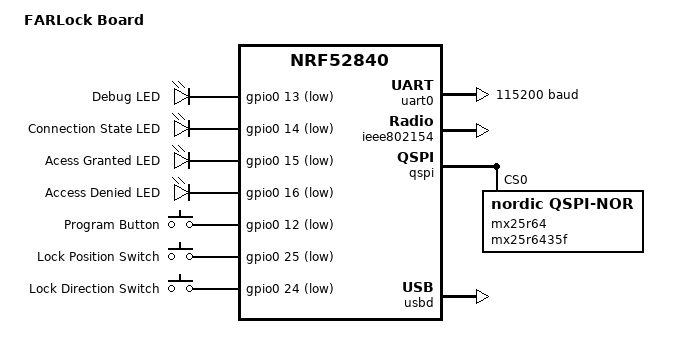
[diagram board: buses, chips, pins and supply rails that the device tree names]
/dts-v1/;
#include <nordic/nrf52840_qiaa.dtsi>
#include "farlock-pinctrl.dtsi"

/ {
	model = "FARLock Board";
	compatible = "frazieje,farlock";

	chosen {
		zephyr,console = &cdc_acm_uart0;
		zephyr,shell-uart = &uart0;
		zephyr,uart-mcumgr = &uart0;
		zephyr,bt-mon-uart = &uart0;
		zephyr,bt-c2h-uart = &uart0;
        zephyr,bt-uart = &uart0;
		zephyr,sram = &sram0;
		zephyr,flash = &flash0;
		zephyr,code-partition = &slot0_partition;
		zephyr,ieee802154 = &ieee802154;
	};

	leds {
		compatible = "gpio-leds";
		led0: led_0 {
			gpios = <&gpio0 13 GPIO_ACTIVE_LOW>;
			label = "Debug LED";
		};
		led1: led_1 {
			gpios = <&gpio0 14 GPIO_ACTIVE_LOW>;
			label = "Connection State LED";
		};
		led2: led_2 {
			gpios = <&gpio0 15 GPIO_ACTIVE_LOW>;
			label = "Acess Granted LED";
		};
		led3: led_3 {
			gpios = <&gpio0 16 GPIO_ACTIVE_LOW>;
			label = "Access Denied LED";
		};
	};

	buttons {
		compatible = "gpio-keys";
		button0: button_0 {
			gpios = <&gpio0 12 (GPIO_PULL_UP | GPIO_ACTIVE_LOW)>;
			label = "Program Button";
			zephyr,code = <INPUT_KEY_0>;
		};
		button1: button_1 {
			gpios = <&gpio0 25 (GPIO_PULL_UP | GPIO_ACTIVE_LOW)>;
			label = "Lock Position Switch";
			zephyr,code = <INPUT_KEY_1>;
		};
		button2: button_2 {
			gpios = <&gpio0 24 (GPIO_PULL_UP | GPIO_ACTIVE_LOW)>;
			label = "Lock Direction Switch";
			zephyr,code = <INPUT_KEY_2>;
		};
	};

	nfc: nfc {
		status = "okay";
		compatible = "nfc-rw";
	};
};

&gpiote {
	status = "okay";
};

&uicr {
	gpio-as-nreset;
};

&gpio0 {
	status = "okay";
};

&gpio1 {
	status = "okay";
};

&uart0 {
	compatible = "nordic,nrf-uarte";
	status = "okay";
	current-speed = <115200>;
	pinctrl-0 = <&uart0_default>;
	pinctrl-1 = <&uart0_sleep>;
	pinctrl-names = "default", "sleep";
};

&ieee802154 {
	status = "okay";
};

&qspi {
	status = "okay";
	pinctrl-0 = <&qspi_default>;
	pinctrl-1 = <&qspi_sleep>;
	pinctrl-names = "default", "sleep";
	mx25r64: mx25r6435f@0 {
		compatible = "nordic,qspi-nor";
		reg = <0>;
		/* MX25R64 supports only pp and pp4io */
		writeoc = "pp4io";
		/* MX25R64 supports all readoc options */
		readoc = "read4io";
		sck-frequency = <8000000>;
		jedec-id = [c2 28 17];
		sfdp-bfp = [
						   e5 20 f1 ff  ff ff ff 03  44 eb 08 6b  08 3b 04 bb
						   ee ff ff ff  ff ff 00 ff  ff ff 00 ff  0c 20 0f 52
						   10 d8 00 ff  23 72 f5 00  82 ed 04 cc  44 83 68 44
						   30 b0 30 b0  f7 c4 d5 5c  00 be 29 ff  f0 d0 ff ff
				   ];
		size = <67108864>;
		has-dpd;
		t-enter-dpd = <10000>;
		t-exit-dpd = <35000>;
	};
};

&flash0 {

	partitions {
		compatible = "fixed-partitions";
		#address-cells = <1>;
		#size-cells = <1>;

		boot_partition: partition@0 {
			label = "mcuboot";
			reg = <0x00000000 0x0000C000>;
		};
		slot0_partition: partition@c000 {
			label = "image-0";
			reg = <0x0000C000 0x00076000>;
		};
		slot1_partition: partition@82000 {
			label = "image-1";
			reg = <0x00082000 0x00076000>;
		};

		/*
		 * The flash starting at 0x000f8000 and ending at
		 * 0x000fffff is reserved for use by the application.
		 */

		/*
		 * Storage partition will be used by FCB/LittleFS/NVS
		 * if enabled.
		 */
		storage_partition: partition@f8000 {
			label = "storage";
			reg = <0x000f8000 0x00008000>;
		};
	};
};

zephyr_udc0: &usbd {
	compatible = "nordic,nrf-usbd";
	status = "okay";
};

&zephyr_udc0 {
	cdc_acm_uart0: cdc_acm_uart0 {
		compatible = "zephyr,cdc-acm-uart";
	};
};
